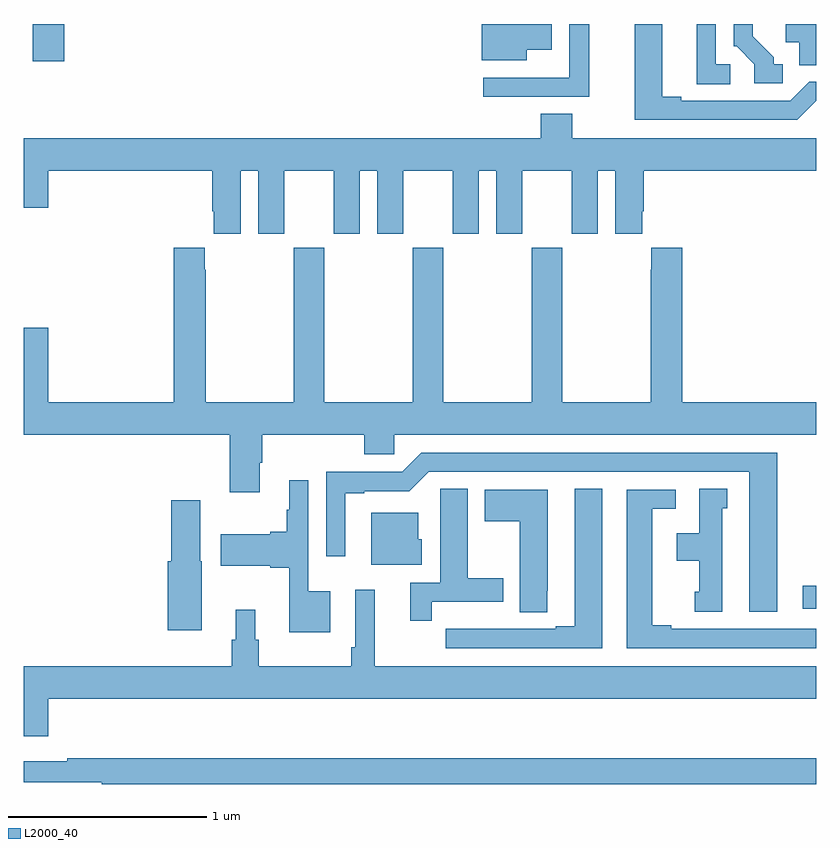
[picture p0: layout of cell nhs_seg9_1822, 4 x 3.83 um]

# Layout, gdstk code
import gdstk
lib = gdstk.Library(unit=1e-6, precision=1e-09)
def R(c, l, rs):  # rectangles x0, y0, x1, y1
    for r in rs: c.add(gdstk.rectangle(r[:2], r[2:], *l))
def P(c, l, *ps):  # polygons
    for p in ps: c.add(gdstk.Polygon(p, *l))
L2000_40 = (2000, 40)

nhs_seg9_1822 = lib.new_cell('nhs_seg9_1822')
R(nhs_seg9_1822, L2000_40, [(216.93,1187.55,217,1187.666), (213.046,1190.313,213.206,1190.5)])
P(nhs_seg9_1822, L2000_40, [(215.539,1190.369),(215.665,1190.369),(215.665,1190.5),(215.312,1190.5),(215.312,1190.318),(215.539,1190.318)],
  [(217,1190.5),(216.845,1190.5),(216.845,1190.408),(216.914,1190.408),(216.914,1190.293),(217,1190.293)],
  [(216.565,1190.298),(216.492,1190.298),(216.492,1190.5),(216.395,1190.5),(216.395,1190.197),(216.565,1190.197)],
  [(215.853,1190.5),(215.754,1190.5),(215.754,1190.23),(215.753,1190.23),(215.753,1190.229),(215.319,1190.229),(215.319,1190.133),(215.853,1190.133)],
  [(216.999,1190.112),(217,1190.112),(217,1190.208),(216.963,1190.208),(216.867,1190.112),(216.319,1190.112),(216.319,1190.132),(216.223,1190.132),(216.223,1190.5),(216.083,1190.5),(216.083,1190.016),(216.903,1190.016)],
  [(216.829,1190.298),(216.784,1190.298),(216.784,1190.333),(216.679,1190.438),(216.679,1190.5),(216.582,1190.5),(216.582,1190.388),(216.597,1190.388),(216.687,1190.298),(216.687,1190.202),(216.829,1190.202)],
  [(213,1189.572),(213.124,1189.572),(213.124,1189.76),(213.953,1189.76),(213.953,1189.555),(213.959,1189.555),(213.959,1189.443),(214.096,1189.443),(214.096,1189.76),(214.184,1189.76),(214.184,1189.443),(214.315,1189.443),(214.315,1189.76),(214.565,1189.76),(214.565,1189.443),(214.696,1189.443),(214.696,1189.76),(214.784,1189.76),(214.784,1189.443),(214.915,1189.443),(214.915,1189.76),(215.165,1189.76),(215.165,1189.443),(215.296,1189.443),(215.296,1189.76),(215.384,1189.76),(215.384,1189.443),(215.515,1189.443),(215.515,1189.76),(215.765,1189.76),(215.765,1189.443),(215.896,1189.443),(215.896,1189.76),(215.984,1189.76),(215.984,1189.443),(216.121,1189.443),(216.121,1189.555),(216.128,1189.555),(216.128,1189.76),(217,1189.76),(217,1189.924),(215.769,1189.924),(215.769,1190.048),(215.609,1190.048),(215.609,1189.924),(213,1189.924)],
  [(213,1188.967),(213,1188.428),(214.04,1188.428),(214.04,1188.138),(214.192,1188.138),(214.192,1188.286),(214.205,1188.286),(214.205,1188.428),(214.718,1188.428),(214.718,1188.33),(214.869,1188.33),(214.869,1188.428),(217,1188.428),(217,1188.592),(216.323,1188.592),(216.323,1189.372),(216.167,1189.372),(216.167,1189.259),(216.163,1189.259),(216.163,1188.592),(215.718,1188.592),(215.718,1189.372),(215.563,1189.372),(215.563,1188.592),(215.118,1188.592),(215.118,1189.372),(214.963,1189.372),(214.963,1188.592),(214.518,1188.592),(214.518,1189.372),(214.363,1189.372),(214.363,1188.592),(213.918,1188.592),(213.918,1189.259),(213.913,1189.259),(213.913,1189.372),(213.758,1189.372),(213.758,1188.592),(213.124,1188.592),(213.124,1188.967)],
  [(216.802,1188.336),(215.007,1188.336),(214.911,1188.24),(214.527,1188.24),(214.527,1187.814),(214.624,1187.814),(214.624,1188.132),(214.72,1188.132),(214.72,1188.144),(214.947,1188.144),(215.043,1188.24),(216.662,1188.24),(216.662,1187.535),(216.802,1187.535)],
  [(214.546,1187.638),(214.437,1187.638),(214.437,1188.199),(214.34,1188.199),(214.34,1188.05),(214.329,1188.05),(214.329,1187.939),(214.244,1187.939),(214.244,1187.926),(213.996,1187.926),(213.996,1187.768),(214.244,1187.768),(214.244,1187.756),(214.34,1187.756),(214.34,1187.432),(214.546,1187.432)],
  [(216.526,1188.057),(216.55,1188.057),(216.55,1188.155),(216.41,1188.155),(216.41,1187.932),(216.296,1187.932),(216.296,1187.792),(216.41,1187.792),(216.41,1187.637),(216.386,1187.637),(216.386,1187.535),(216.526,1187.535)],
  [(215.06,1187.586),(215.419,1187.586),(215.419,1187.703),(215.242,1187.703),(215.242,1188.155),(215.103,1188.155),(215.103,1188.044),(215.102,1188.044),(215.102,1187.682),(214.952,1187.682),(214.952,1187.49),(215.06,1187.49)],
  [(215.92,1188.155),(215.78,1188.155),(215.78,1187.463),(215.684,1187.463),(215.684,1187.448),(215.408,1187.448),(215.408,1187.449),(215.242,1187.449),(215.242,1187.448),(215.13,1187.448),(215.13,1187.352),(215.92,1187.352)],
  [(215.643,1187.641),(215.644,1187.641),(215.644,1188.151),(215.327,1188.151),(215.327,1187.992),(215.504,1187.992),(215.504,1187.533),(215.643,1187.533)],
  [(217,1187.448),(216.268,1187.448),(216.268,1187.468),(216.172,1187.468),(216.172,1188.054),(216.289,1188.054),(216.289,1188.15),(216.044,1188.15),(216.044,1187.352),(217,1187.352)],
  [(213.898,1187.79),(213.892,1187.79),(213.892,1188.097),(213.746,1188.097),(213.746,1187.79),(213.728,1187.79),(213.728,1187.442),(213.898,1187.442)],
  [(215.008,1187.901),(214.99,1187.901),(214.99,1188.034),(214.754,1188.034),(214.754,1187.771),(215.008,1187.771)],
  [(213.124,1187.096),(217,1187.096),(217,1187.26),(214.772,1187.26),(214.772,1187.647),(214.674,1187.647),(214.674,1187.356),(214.654,1187.356),(214.654,1187.26),(214.187,1187.26),(214.187,1187.394),(214.168,1187.394),(214.168,1187.545),(214.07,1187.545),(214.07,1187.394),(214.051,1187.394),(214.051,1187.26),(213,1187.26),(213,1186.908),(213.124,1186.908)],
  [(217,1186.795),(213.22,1186.795),(213.22,1186.782),(213,1186.782),(213,1186.674),(213.394,1186.674),(213.394,1186.666),(217,1186.666)])

lib.write_gds('nhs_seg9_1822.gds')
